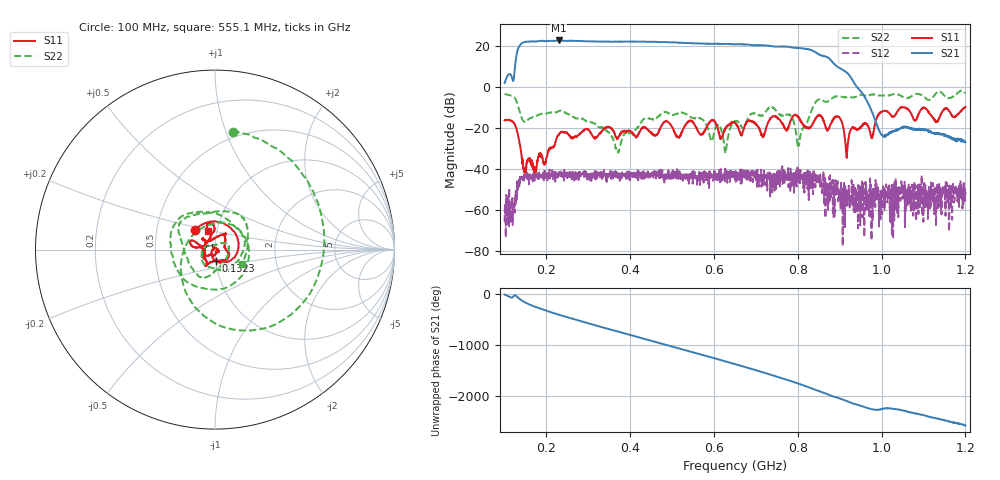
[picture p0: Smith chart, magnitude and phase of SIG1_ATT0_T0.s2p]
# Hz S DB R 50
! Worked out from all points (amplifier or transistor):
!   1601 points, 100 MHz to 1.2 GHz, reference 50 ohm
!   highest |S21| = 22.8 dB at 229.2 MHz (marker M1)
!   |S21| within 3 dB of that: 134.5 MHz to 744.1 MHz (609.6 MHz wide, 139 % of centre)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
!   unconditionally stable (mu >= 1): start of sweep to end of sweep
!   at 282.9 MHz: K = 4.87, MAG = 22.7 dB, |S12| = -42.5 dB
!   at 650 MHz: K = 5.83, MAG = 21.1 dB, |S12| = -42.5 dB
!   at 1.2 GHz: K = 1850.66, MAG = -23.5 dB, |S12| = -51.4 dB
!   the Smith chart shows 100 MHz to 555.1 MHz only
!   S11 on the Smith chart (normalised r, x): 100 MHz: 0.78, +0.17; 132.3 MHz: 1.00, -0.13; 555.1 MHz: 0.91, +0.19
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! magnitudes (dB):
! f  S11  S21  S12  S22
! 100 MHz  -16.3  2.0  -66.0  -3.6
! 119.9 MHz  -17.0  3.1  -57.4  -4.6
! 132.3 MHz  -24.0  18.8  -48.1  -9.4
! 146.1 MHz  -39.8  21.9  -43.1  -16.9
! 171.5 MHz  -39.2  22.3  -45.8  -14.4
! 229.2 MHz  -23.5  22.8  -41.6  -11.8
! 283.6 MHz  -22.1  22.5  -42.7  -15.4
! 370.2 MHz  -24.8  22.2  -42.4  -31.5
! 467.1 MHz  -22.4  22.0  -42.7  -14.3
! 555.1 MHz  -19.0  21.4  -43.4  -15.2
! 611.5 MHz  -22.1  21.2  -43.9  -18.7
! 627.3 MHz  -19.9  21.1  -44.1  -31.7
! 650 MHz  -17.7  20.9  -42.5  -16.8
! 716.7 MHz  -24.5  20.4  -42.4  -13.8
! 738.7 MHz  -14.6  20.0  -51.4  -9.7
! 783.4 MHz  -16.1  19.5  -43.6  -14.2
! 801.9 MHz  -14.7  19.1  -40.8  -28.3
! 833.6 MHz  -18.7  18.0  -44.3  -11.0
! 896.1 MHz  -14.4  9.8  -53.1  -4.4
! 916.8 MHz  -34.7  7.1  -50.1  -4.9
! 1.017 GHz  -12.6  -22.5  -48.6  -4.1
! 1.2 GHz  -9.8  -27.0  -51.4  -3.0
